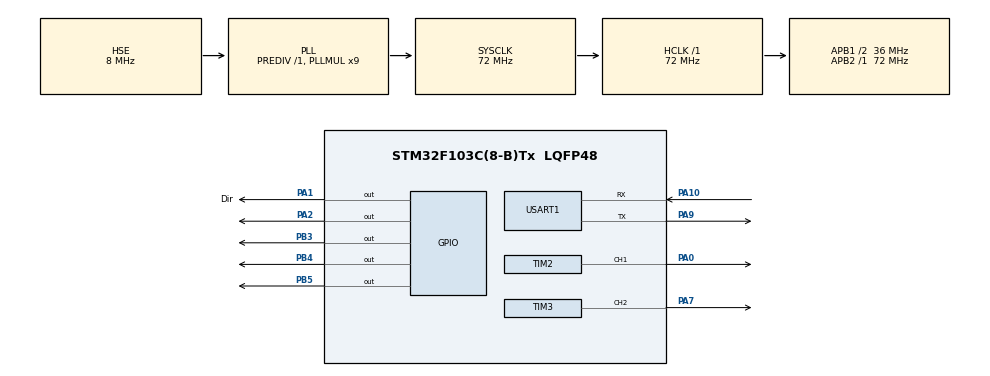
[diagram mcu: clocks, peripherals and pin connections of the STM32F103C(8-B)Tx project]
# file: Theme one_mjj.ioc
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Mcu.Family=STM32F1
Mcu.Name=STM32F103C(8-B)Tx
Mcu.Package=LQFP48
NVIC.PriorityGroup=NVIC_PRIORITYGROUP_4
NVIC.TIM2_IRQn=true\:0\:0\:false\:false\:true\:true\:true\:true
NVIC.TIM3_IRQn=true\:0\:0\:false\:false\:true\:true\:true\:true
NVIC.USART1_IRQn=true\:0\:0\:false\:false\:true\:true\:true\:true
PA0-WKUP.Signal=S_TIM2_CH1_ETR
PA1.GPIO_Label=Dir
PA1.PinState=GPIO_PIN_SET
PA1.Signal=GPIO_Output
PA10.Mode=Asynchronous
PA10.Signal=USART1_RX
PA13.Mode=Serial_Wire
PA13.Signal=SYS_JTMS-SWDIO
PA14.Mode=Serial_Wire
PA14.Signal=SYS_JTCK-SWCLK
PA2.Signal=GPIO_Output
PA7.Signal=S_TIM3_CH2
PA9.Mode=Asynchronous
PA9.Signal=USART1_TX
PB3.GPIO_Speed=GPIO_SPEED_FREQ_HIGH
PB3.PinState=GPIO_PIN_SET
PB3.Signal=GPIO_Output
PB4.GPIO_PuPd=GPIO_NOPULL
PB4.GPIO_Speed=GPIO_SPEED_FREQ_HIGH
PB4.PinState=GPIO_PIN_SET
PB4.Signal=GPIO_Output
PB5.GPIO_PuPd=GPIO_NOPULL
PB5.GPIO_Speed=GPIO_SPEED_FREQ_HIGH
PB5.PinState=GPIO_PIN_SET
PB5.Signal=GPIO_Output
PD0-OSC_IN.Mode=HSE-External-Oscillator
PD0-OSC_IN.Signal=RCC_OSC_IN
PD1-OSC_OUT.Mode=HSE-External-Oscillator
PD1-OSC_OUT.Signal=RCC_OSC_OUT
ProjectManager.HeapSize=0x200
ProjectManager.StackSize=0x400
ProjectManager.TargetToolchain=MDK-ARM V5.32
RCC.AHBFreq_Value=72000000
RCC.APB1CLKDivider=RCC_HCLK_DIV2
RCC.APB1Freq_Value=36000000
RCC.APB1TimFreq_Value=72000000
RCC.APB2Freq_Value=72000000
RCC.APB2TimFreq_Value=72000000
RCC.HCLKFreq_Value=72000000
RCC.PLLMUL=RCC_PLL_MUL9
RCC.PLLSourceVirtual=RCC_PLLSOURCE_HSE
RCC.SYSCLKFreq_VALUE=72000000
RCC.SYSCLKSource=RCC_SYSCLKSOURCE_PLLCLK
RCC.USBFreq_Value=72000000
SH.S_TIM2_CH1_ETR.0=TIM2_CH1,PWM Generation1 CH1
SH.S_TIM3_CH2.0=TIM3_CH2,PWM Generation2 CH2
TIM2.AutoReloadPreload=TIM_AUTORELOAD_PRELOAD_ENABLE
TIM2.Channel-PWM\ Generation1\ CH1=TIM_CHANNEL_1
TIM2.Period=1000-1
TIM2.Prescaler=72-1
TIM3.AutoReloadPreload=TIM_AUTORELOAD_PRELOAD_ENABLE
TIM3.Channel-PWM\ Generation2\ CH2=TIM_CHANNEL_2
TIM3.Period=1000-1
TIM3.Prescaler=72-1
USART1.VirtualMode=VM_ASYNC
VP_TIM2_VS_ClockSourceINT.Mode=Internal
VP_TIM3_VS_ClockSourceINT.Mode=Internal
board=custom

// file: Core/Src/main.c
/* USER CODE BEGIN Header */
/**
  ******************************************************************************
  * @file           : main.c
  * @brief          : Main program body
  ******************************************************************************
  * @attention
  *
  * Copyright (c) 2025 STMicroelectronics.
  * All rights reserved.
  *
  * This software is licensed under terms that can be found in the LICENSE file
  * in the root directory of this software component.
  * If no LICENSE file comes with this software, it is provided AS-IS.
  *
  ******************************************************************************
  */
/* USER CODE END Header */
#include "main.h"
#include "tim.h"
#include "usart.h"
#include "gpio.h"

/* USER CODE BEGIN Includes */

int count;
uint16_t a=0;
uint16_t cnt=0;

/* USER CODE END Includes */

/* USER CODE BEGIN PD */
#define RxBuffer_MaxSize  256     //???????
char RxBuffer[RxBuffer_MaxSize];   //????
uint8_t aRxBuffer;			//??????
uint8_t UART1_Rx_Cnt = 0;		//??????
extern uint16_t cnt_;
/* USER CODE END PD */

void SystemClock_Config(void);

int main(void)
{

  /* MCU Configuration--------------------------------------------------------*/

  /* Reset of all peripherals, Initializes the Flash interface and the Systick. */
  HAL_Init();

  /* Configure the system clock */
  SystemClock_Config();

  /* Initialize all configured peripherals */
  MX_GPIO_Init();
  MX_TIM2_Init();
  MX_USART1_UART_Init();
  MX_TIM3_Init();
  /* USER CODE BEGIN 2 */
	HAL_TIM_Base_Start_IT(&htim2);
	HAL_TIM_Base_Start_IT(&htim3);
	HAL_TIM_PWM_Start(&htim2,TIM_CHANNEL_1);
	HAL_TIM_PWM_Start(&htim3,TIM_CHANNEL_2);
	HAL_GPIO_WritePin(Dir_GPIO_Port, Dir_Pin, GPIO_PIN_SET);
	HAL_UART_Receive_IT(&huart1, (uint8_t *)&aRxBuffer, 1);
//	HAL_TIM_PWM_Start(&htim2,TIM_CHANNEL_1);
//	HAL_TIM_PWM_Start(&htim3,TIM_CHANNEL_2);
	__HAL_TIM_SET_COMPARE(&htim2, TIM_CHANNEL_1, 0);
	__HAL_TIM_SET_COMPARE(&htim3, TIM_CHANNEL_2, 500);

  /* USER CODE END 2 */

  /* Infinite loop */
  while (1)
  {

    /* USER CODE BEGIN 3 */
		if (a==1){
//				HAL_GPIO_WritePin(Dir_GPIO_Port, Dir_Pin, GPIO_PIN_SET);
			 __HAL_TIM_SET_COMPARE(&htim2, TIM_CHANNEL_1, 500);
       cnt=133;
			 a=0;
			 }
		else if(cnt_==0||a==2){
			HAL_GPIO_WritePin(GPIOB, GPIO_PIN_3, GPIO_PIN_RESET);
			HAL_Delay(2000);
			HAL_GPIO_WritePin(GPIOB, GPIO_PIN_3, GPIO_PIN_SET);
			HAL_GPIO_WritePin(GPIOB, GPIO_PIN_4, GPIO_PIN_RESET);
			HAL_Delay(2000);
			HAL_GPIO_WritePin(GPIOB, GPIO_PIN_4, GPIO_PIN_SET);
			HAL_GPIO_WritePin(GPIOB, GPIO_PIN_5, GPIO_PIN_RESET);
			HAL_Delay(2000);
			HAL_GPIO_WritePin(GPIOB, GPIO_PIN_5, GPIO_PIN_SET);
			a=0;
			cnt_=1200;
		//	__HAL_TIM_SET_COMPARE(&htim2, TIM_CHANNEL_1, 0);
  }
		HAL_Delay(10);
}
  /* USER CODE END 3 */
}

void SystemClock_Config(void)
{
  RCC_OscInitTypeDef RCC_OscInitStruct = {0};
  RCC_ClkInitTypeDef RCC_ClkInitStruct = {0};

  /** Initializes the RCC Oscillators according to the specified parameters
  * in the RCC_OscInitTypeDef structure.
  */
  RCC_OscInitStruct.OscillatorType = RCC_OSCILLATORTYPE_HSE;
  RCC_OscInitStruct.HSEState = RCC_HSE_ON;
  RCC_OscInitStruct.HSEPredivValue = RCC_HSE_PREDIV_DIV1;
  RCC_OscInitStruct.HSIState = RCC_HSI_ON;
  RCC_OscInitStruct.PLL.PLLState = RCC_PLL_ON;
  RCC_OscInitStruct.PLL.PLLSource = RCC_PLLSOURCE_HSE;
  RCC_OscInitStruct.PLL.PLLMUL = RCC_PLL_MUL9;
  if (HAL_RCC_OscConfig(&RCC_OscInitStruct) != HAL_OK)
  {
    Error_Handler();
  }

  /** Initializes the CPU, AHB and APB buses clocks
  */
  RCC_ClkInitStruct.ClockType = RCC_CLOCKTYPE_HCLK|RCC_CLOCKTYPE_SYSCLK
                              |RCC_CLOCKTYPE_PCLK1|RCC_CLOCKTYPE_PCLK2;
  RCC_ClkInitStruct.SYSCLKSource = RCC_SYSCLKSOURCE_PLLCLK;
  RCC_ClkInitStruct.AHBCLKDivider = RCC_SYSCLK_DIV1;
  RCC_ClkInitStruct.APB1CLKDivider = RCC_HCLK_DIV2;
  RCC_ClkInitStruct.APB2CLKDivider = RCC_HCLK_DIV1;

  if (HAL_RCC_ClockConfig(&RCC_ClkInitStruct, FLASH_LATENCY_2) != HAL_OK)
  {
    Error_Handler();
  }
}

/* USER CODE BEGIN 4 */

void HAL_UART_RxCpltCallback(UART_HandleTypeDef *huart){
		if(&huart1 == huart){
			 UART1_Rx_Cnt++;
    if (UART1_Rx_Cnt >= 255)
    {
      UART1_Rx_Cnt = 0;
    }
		RxBuffer[UART1_Rx_Cnt] = aRxBuffer;
		a=RxBuffer[UART1_Rx_Cnt];
//		HAL_UART_Transmit_IT(&huart1, (uint8_t *)&a, 2);

		}
		HAL_UART_Receive_IT(&huart1, (uint8_t *)&aRxBuffer, 1);
	}

/* USER CODE END 4 */

void Error_Handler(void)
{
  __disable_irq();
  while (1)
  {
  }
}
